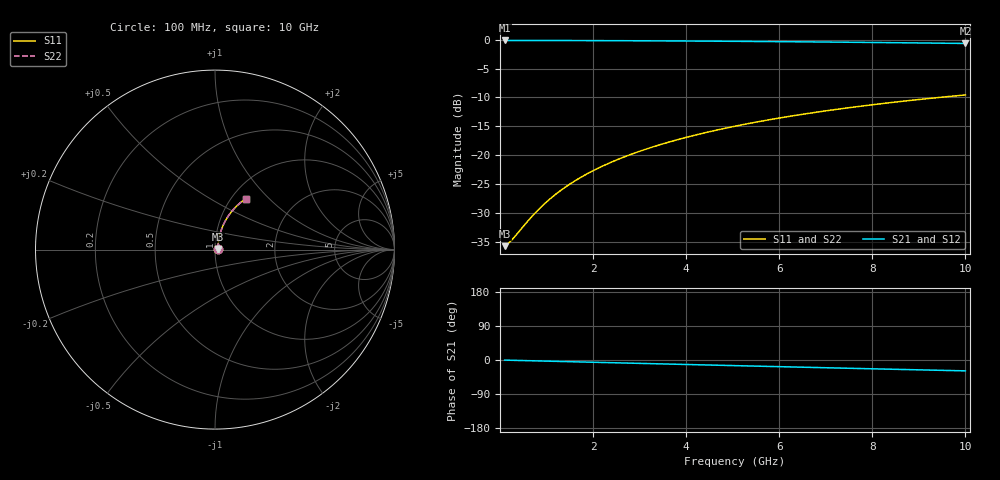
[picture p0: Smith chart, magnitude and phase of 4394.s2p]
# Hz S RI R 50.00
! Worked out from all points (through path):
!   100 points, 100 MHz to 10 GHz, reference 50 ohm
!   highest |S21| = -0.14 dB at 100 MHz (marker M1); lowest = -0.7 dB at 10 GHz (marker M2)
!   group delay of S21, straight-line fit = 7.98 ps
!   lowest |S11| = -35.7 dB at 100 MHz (marker M3), VSWR 1.03, Z = 51.6 + j0.363 ohm
!   |S11| at or under -10 dB: start of sweep to 9.431 GHz
!   |S22| runs from -35.7 to -9.6 dB; largest |S21 - S12| = 1e-12
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1e8  0.016 0.00352  0.984 -0.00511  0.984 -0.00511  0.016 0.00352
2e8  0.0162 0.00703  0.9838 -0.0102  0.9838 -0.0102  0.0162 0.00703
3e8  0.0163 0.0105  0.9836 -0.0153  0.9836 -0.0153  0.0163 0.0105
7e8  0.0173 0.0246  0.9827 -0.0357  0.9827 -0.0357  0.0173 0.0246
8e8  0.0176 0.0281  0.9823 -0.0408  0.9823 -0.0408  0.0176 0.0281
1e9  0.0183 0.035  0.9816 -0.051  0.9816 -0.051  0.0183 0.035
1.2e9  0.0192 0.042  0.9806 -0.0611  0.9806 -0.0611  0.0192 0.042
1.4e9  0.0202 0.0489  0.9796 -0.0712  0.9796 -0.0712  0.0202 0.0489
1.6e9  0.0213 0.0558  0.9784 -0.0813  0.9784 -0.0813  0.0213 0.0558
1.8e9  0.0226 0.0627  0.977 -0.0914  0.977 -0.0914  0.0226 0.0627
2.1e9  0.0247 0.073  0.9747 -0.1065  0.9747 -0.1065  0.0247 0.073
2.5e9  0.0281 0.0865  0.9711 -0.1264  0.9711 -0.1264  0.0281 0.0865
2.9e9  0.032 0.0999  0.9669 -0.1461  0.9669 -0.1461  0.032 0.0999
3.4e9  0.0377 0.1163  0.9608 -0.1705  0.9608 -0.1705  0.0377 0.1163
3.8e9  0.0427 0.1291  0.9554 -0.1898  0.9554 -0.1898  0.0427 0.1291
4.2e9  0.0483 0.1417  0.9493 -0.2088  0.9493 -0.2088  0.0483 0.1417
5.1e9  0.0626 0.1689  0.9339 -0.2504  0.9339 -0.2504  0.0626 0.1689
5.9e9  0.0772 0.1918  0.9182 -0.2861  0.9182 -0.2861  0.0772 0.1918
6.7e9  0.0934 0.2131  0.9007 -0.3204  0.9007 -0.3204  0.0934 0.2131
7.5e9  0.1111 0.2329  0.8815 -0.3531  0.8815 -0.3531  0.1111 0.2329
8.4e9  0.1324 0.2532  0.8583 -0.3879  0.8583 -0.3879  0.1324 0.2532
1e10  0.1734 0.2837  0.8133 -0.4446  0.8133 -0.4446  0.1734 0.2837
